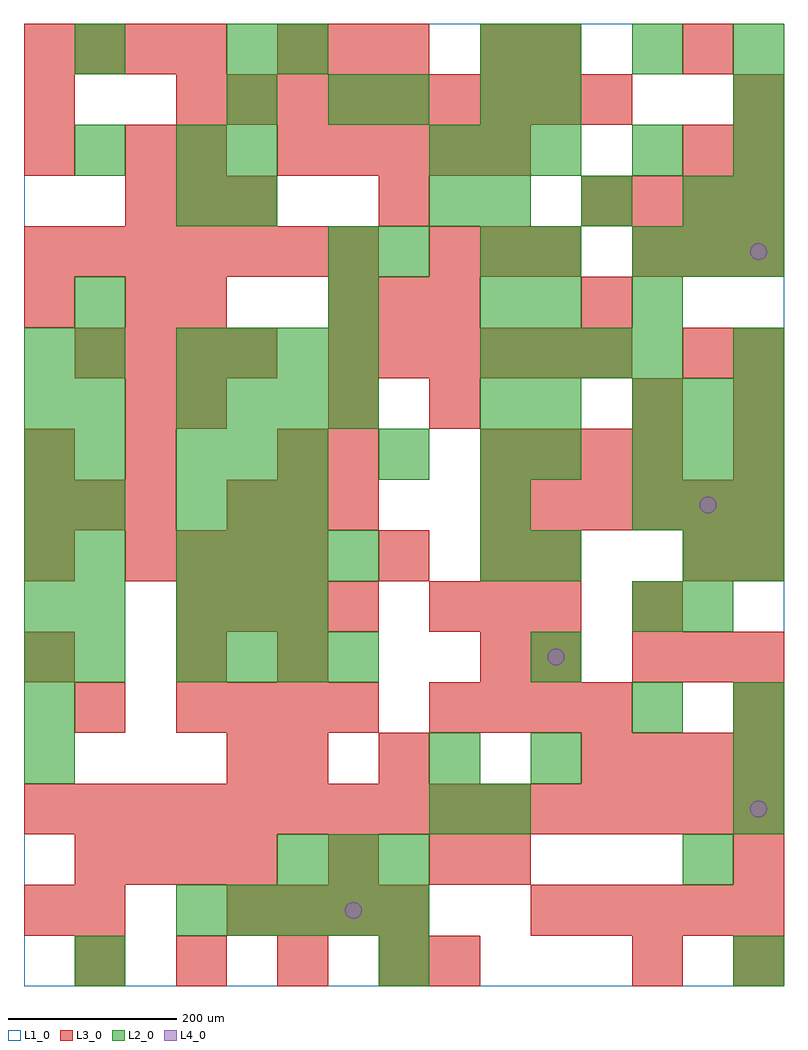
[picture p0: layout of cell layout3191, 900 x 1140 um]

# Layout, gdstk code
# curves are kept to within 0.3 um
import gdstk
lib = gdstk.Library(unit=1e-6, precision=1e-09)
def R(c, l, rs):  # rectangles x0, y0, x1, y1
    for r in rs: c.add(gdstk.rectangle(r[:2], r[2:], *l))
def A(c, l, x, y, w, h, nx, ny, dx, dy):  # array of equal rectangles
    R(c, l, [(x+i*dx, y+j*dy, x+i*dx+w, y+j*dy+h) for i in range(nx) for j in range(ny)])
def P(c, l, *ps):  # polygons
    for p in ps: c.add(gdstk.Polygon(p, *l))
L1_0 = (1, 0)
L2_0 = (2, 0)
L3_0 = (3, 0)
L4_0 = (4, 0)

layout3191 = lib.new_cell('layout3191')
R(layout3191, L1_0, [(0,0,900,1140)])
A(layout3191, L2_0, 180, 60, 60, 60, 5, 1, 60, 0)
A(layout3191, L2_0, 300, 120, 60, 60, 3, 1, 60, 0)
A(layout3191, L2_0, 840, 180, 60, 60, 1, 3, 0, 60)
A(layout3191, L2_0, 0, 240, 60, 60, 1, 9, 0, 60)
A(layout3191, L2_0, 600, 240, 60, 60, 1, 4, 0, 120)
A(layout3191, L2_0, 60, 360, 60, 60, 1, 8, 0, 60)
A(layout3191, L2_0, 180, 360, 60, 60, 4, 2, 60, 120)
A(layout3191, L2_0, 180, 420, 60, 60, 3, 2, 60, 120)
A(layout3191, L2_0, 540, 480, 60, 60, 1, 4, 0, 60)
A(layout3191, L2_0, 720, 540, 60, 60, 3, 3, 60, 60)
A(layout3191, L2_0, 180, 600, 60, 60, 3, 1, 60, 0)
A(layout3191, L2_0, 180, 660, 60, 60, 4, 2, 60, 60)
A(layout3191, L2_0, 540, 720, 60, 60, 4, 1, 60, 0)
A(layout3191, L2_0, 720, 840, 60, 60, 3, 1, 60, 0)
A(layout3191, L2_0, 240, 900, 60, 60, 1, 4, 0, 60)
A(layout3191, L2_0, 540, 900, 60, 60, 3, 1, 120, 0)
A(layout3191, L2_0, 840, 900, 60, 60, 1, 3, 0, 60)
A(layout3191, L2_0, 480, 960, 60, 60, 3, 1, 60, 0)
A(layout3191, L2_0, 600, 1080, 60, 60, 3, 1, 120, 0)
R(layout3191, L2_0, [(60,0,120,60), (420,0,480,60), (840,0,900,60), (780,120,840,180), (480,180,540,240), (540,180,600,240), (480,240,540,300), (720,300,780,360), (720,420,780,480), (780,420,840,480), (780,480,840,540), (840,480,900,540), (420,600,480,660), (600,660,660,720), (840,720,900,780), (360,780,420,840), (540,780,600,840), (600,780,660,840), (720,780,780,840), (360,840,420,900), (420,840,480,900), (540,840,600,900), (600,840,660,900), (180,900,240,960), (480,900,540,960), (60,960,120,1020), (180,960,240,1020), (720,960,780,1020), (360,1020,420,1080), (420,1020,480,1080), (540,1020,600,1080), (600,1020,660,1080), (60,1080,120,1140), (300,1080,360,1140), (540,1080,600,1140)])
A(layout3191, L3_0, 60, 0, 60, 60, 4, 1, 120, 0)
A(layout3191, L3_0, 240, 60, 60, 60, 4, 1, 60, 0)
A(layout3191, L3_0, 600, 60, 60, 60, 5, 1, 60, 0)
A(layout3191, L3_0, 60, 120, 60, 60, 4, 2, 60, 600)
A(layout3191, L3_0, 840, 120, 60, 60, 1, 3, 0, 180)
A(layout3191, L3_0, 0, 180, 60, 60, 15, 1, 60, 0)
A(layout3191, L3_0, 660, 240, 60, 60, 4, 2, 60, 660)
A(layout3191, L3_0, 180, 300, 60, 60, 4, 2, 60, 120)
A(layout3191, L3_0, 480, 300, 60, 60, 4, 1, 60, 0)
A(layout3191, L3_0, 0, 360, 60, 60, 1, 3, 0, 120)
A(layout3191, L3_0, 720, 360, 60, 60, 3, 2, 60, 480)
A(layout3191, L3_0, 480, 420, 60, 60, 3, 2, 60, 420)
A(layout3191, L3_0, 120, 480, 60, 60, 4, 1, 60, 0)
A(layout3191, L3_0, 780, 480, 60, 60, 1, 3, 0, 240)
A(layout3191, L3_0, 0, 540, 60, 60, 3, 1, 60, 0)
A(layout3191, L3_0, 240, 540, 60, 60, 3, 1, 60, 0)
A(layout3191, L3_0, 540, 540, 60, 60, 6, 1, 60, 0)
A(layout3191, L3_0, 540, 600, 60, 60, 4, 1, 60, 0)
A(layout3191, L3_0, 840, 600, 60, 60, 1, 3, 0, 60)
A(layout3191, L3_0, 360, 720, 60, 60, 6, 1, 60, 0)
A(layout3191, L3_0, 360, 780, 60, 60, 3, 1, 60, 0)
A(layout3191, L3_0, 0, 840, 60, 60, 7, 1, 60, 0)
A(layout3191, L3_0, 120, 900, 60, 60, 3, 1, 60, 0)
A(layout3191, L3_0, 300, 960, 60, 60, 5, 1, 60, 0)
A(layout3191, L3_0, 180, 1020, 60, 60, 9, 1, 60, 0)
A(layout3191, L3_0, 0, 1080, 60, 60, 4, 1, 60, 0)
A(layout3191, L3_0, 300, 1080, 60, 60, 3, 1, 60, 0)
R(layout3191, L3_0, [(480,0,540,60), (720,0,780,60), (840,0,900,60), (0,60,60,120), (60,60,120,120), (360,120,420,180), (480,120,540,180), (540,120,600,180), (240,240,300,300), (300,240,360,300), (420,240,480,300), (60,300,120,360), (180,360,240,420), (300,360,360,420), (540,360,600,420), (600,360,660,420), (720,420,780,480), (420,480,480,540), (540,480,600,540), (600,480,660,540), (120,600,180,660), (300,600,360,660), (360,600,420,660), (120,660,180,720), (180,660,240,720), (360,660,420,720), (480,660,540,720), (720,660,780,720), (0,780,60,840), (120,780,180,840), (180,780,240,840), (660,780,720,840), (420,900,480,960), (0,960,60,1020), (120,960,180,1020), (180,960,240,1020), (840,960,900,1020), (0,1020,60,1080), (840,1020,900,1080), (540,1080,600,1140), (600,1080,660,1140), (780,1080,840,1140)])
P(layout3191, L4_0, [(400,90),(399.239,93.827),(397.071,97.071),(393.827,99.239),(390,100),(386.173,99.239),(382.929,97.071),(380.761,93.827),(380,90),(380.761,86.173),(382.929,82.929),(386.173,80.761),(390,80),(393.827,80.761),(397.071,82.929),(399.239,86.173)],
  [(640,390),(639.239,393.827),(637.071,397.071),(633.827,399.239),(630,400),(626.173,399.239),(622.929,397.071),(620.761,393.827),(620,390),(620.761,386.173),(622.929,382.929),(626.173,380.761),(630,380),(633.827,380.761),(637.071,382.929),(639.239,386.173)],
  [(820,570),(819.239,573.827),(817.071,577.071),(813.827,579.239),(810,580),(806.173,579.239),(802.929,577.071),(800.761,573.827),(800,570),(800.761,566.173),(802.929,562.929),(806.173,560.761),(810,560),(813.827,560.761),(817.071,562.929),(819.239,566.173)],
  [(880,210),(879.239,213.827),(877.071,217.071),(873.827,219.239),(870,220),(866.173,219.239),(862.929,217.071),(860.761,213.827),(860,210),(860.761,206.173),(862.929,202.929),(866.173,200.761),(870,200),(873.827,200.761),(877.071,202.929),(879.239,206.173)],
  [(880,870),(879.239,873.827),(877.071,877.071),(873.827,879.239),(870,880),(866.173,879.239),(862.929,877.071),(860.761,873.827),(860,870),(860.761,866.173),(862.929,862.929),(866.173,860.761),(870,860),(873.827,860.761),(877.071,862.929),(879.239,866.173)])

lib.write_gds('layout3191.gds')
